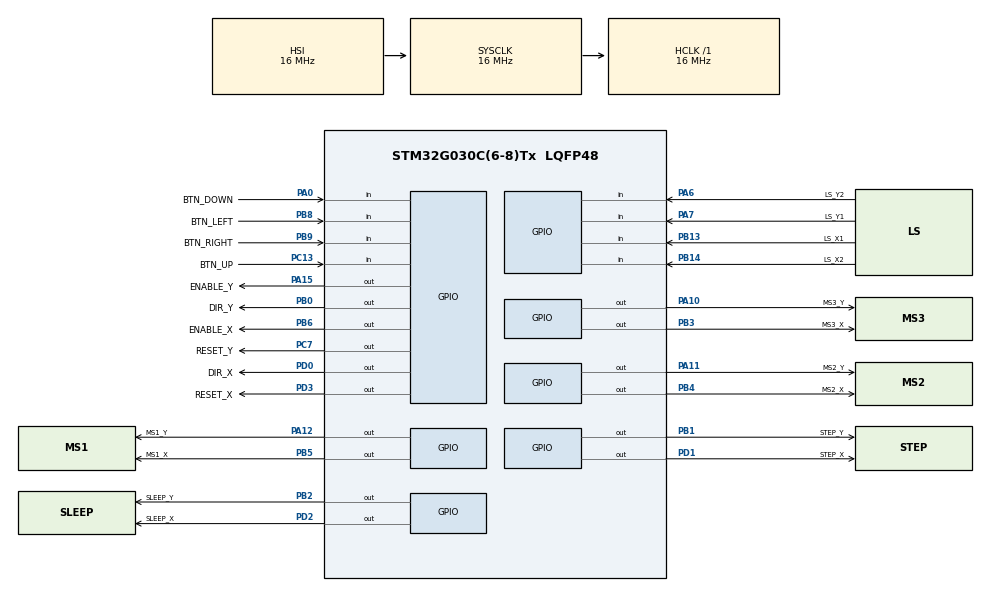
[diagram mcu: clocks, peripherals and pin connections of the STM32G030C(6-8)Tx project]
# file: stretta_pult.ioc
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Mcu.Family=STM32G0
Mcu.Name=STM32G030C(6-8)Tx
Mcu.Package=LQFP48
NVIC.TIM1_BRK_UP_TRG_COM_IRQn=true\:0\:0\:false\:false\:true\:true\:true\:true
NVIC.TIM3_IRQn=true\:0\:0\:false\:false\:true\:true\:true\:true
PA0.GPIO_Label=BTN_DOWN
PA0.Signal=GPIO_Input
PA10.GPIO_Label=MS3_Y
PA10.Signal=GPIO_Output
PA11\ [PA9].GPIO_Label=MS2_Y
PA11\ [PA9].Signal=GPIO_Output
PA12\ [PA10].GPIO_Label=MS1_Y
PA12\ [PA10].Signal=GPIO_Output
PA13.Mode=Serial_Wire
PA13.Signal=SYS_SWDIO
PA14-BOOT0.Mode=Serial_Wire
PA14-BOOT0.Signal=SYS_SWCLK
PA15.GPIO_Label=ENABLE_Y
PA15.PinState=GPIO_PIN_SET
PA15.Signal=GPIO_Output
PA6.GPIO_Label=LS_Y2
PA6.Signal=GPIO_Input
PA7.GPIO_Label=LS_Y1
PA7.Signal=GPIO_Input
PB0.GPIO_Label=DIR_Y
PB0.Signal=GPIO_Output
PB1.GPIO_Label=STEP_Y
PB1.Signal=GPIO_Output
PB13.GPIO_Label=LS_X1
PB13.Signal=GPIO_Input
PB14.GPIO_Label=LS_X2
PB14.Signal=GPIO_Input
PB2.GPIO_Label=SLEEP_Y
PB2.PinState=GPIO_PIN_SET
PB2.Signal=GPIO_Output
PB3.GPIO_Label=MS3_X
PB3.Signal=GPIO_Output
PB4.GPIO_Label=MS2_X
PB4.Signal=GPIO_Output
PB5.GPIO_Label=MS1_X
PB5.Signal=GPIO_Output
PB6.GPIO_Label=ENABLE_X
PB6.PinState=GPIO_PIN_SET
PB6.Signal=GPIO_Output
PB8.GPIO_Label=BTN_LEFT
PB8.Signal=GPIO_Input
PB9.GPIO_Label=BTN_RIGHT
PB9.Signal=GPIO_Input
PC13.GPIO_Label=BTN_UP
PC13.Signal=GPIO_Input
PC7.GPIO_Label=RESET_Y
PC7.PinState=GPIO_PIN_SET
PC7.Signal=GPIO_Output
PD0.GPIO_Label=DIR_X
PD0.Signal=GPIO_Output
PD1.GPIO_Label=STEP_X
PD1.Signal=GPIO_Output
PD2.GPIO_Label=SLEEP_X
PD2.PinState=GPIO_PIN_SET
PD2.Signal=GPIO_Output
PD3.GPIO_Label=RESET_X
PD3.PinState=GPIO_PIN_SET
PD3.Signal=GPIO_Output
ProjectManager.HeapSize=0x200
ProjectManager.StackSize=0x400
ProjectManager.TargetToolchain=STM32CubeIDE
RCC.AHBFreq_Value=16000000
RCC.CortexFreq_Value=16000000
RCC.EXTERNAL_CLOCK_VALUE=12288000
RCC.HCLKFreq_Value=16000000
RCC.HSE_VALUE=8000000
RCC.HSI_VALUE=16000000
RCC.LSE_VALUE=32768
RCC.SYSCLKFreq_VALUE=16000000
RCC.VCOOutputFreq_Value=128000000
TIM1.Period=19999
TIM3.Period=19999
VP_TIM1_VS_ClockSourceINT.Mode=Internal
VP_TIM3_VS_ClockSourceINT.Mode=Internal
board=custom

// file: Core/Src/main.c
/* USER CODE BEGIN Header */
/**
  ******************************************************************************
  * @file           : main.c
  * @brief          : Main program body
  ******************************************************************************
  * @attention
  *
  * Copyright (c) 2023 STMicroelectronics.
  * All rights reserved.
  *
  * This software is licensed under terms that can be found in the LICENSE file
  * in the root directory of this software component.
  * If no LICENSE file comes with this software, it is provided AS-IS.
  *
  ******************************************************************************
  */
/* USER CODE END Header */
#include "main.h"
#include "tim.h"
#include "gpio.h"

/* USER CODE BEGIN Includes */

#include "stepper.h"
#include "controller.h"
/* USER CODE END Includes */

/* USER CODE BEGIN PV */
extern Stepper stepperX;
extern Stepper stepperY;
/* USER CODE END PV */

void SystemClock_Config(void);

/* USER CODE BEGIN 0 */

// прерывание по таймеру для шага двигателя
void HAL_TIM_PeriodElapsedCallback(TIM_HandleTypeDef *htim)
{
        if(htim->Instance == TIM1)
        	stepper_step(&stepperX, htim);

        else if(htim->Instance == TIM3)
        	stepper_step(&stepperY, htim);
}
/* USER CODE END 0 */

int main(void)
{

  /* MCU Configuration--------------------------------------------------------*/

  /* Reset of all peripherals, Initializes the Flash interface and the Systick. */
  HAL_Init();

  /* Configure the system clock */
  SystemClock_Config();

  /* Initialize all configured peripherals */
  MX_GPIO_Init();
  MX_TIM1_Init();
  MX_TIM3_Init();

  /* Infinite loop */
  /* USER CODE BEGIN WHILE */

    __HAL_TIM_CLEAR_FLAG(&htim1, TIM_SR_UIF); // очищаем флаг таймера
       HAL_TIM_Base_Start_IT(&htim1); 			// запускаем таймер

       __HAL_TIM_CLEAR_FLAG(&htim3, TIM_SR_UIF); // очищаем флаг таймера
         HAL_TIM_Base_Start_IT(&htim3);				// запускаем таймер

        steppers_init();		// инициализация шаговиков

     	check_buttons(&stepperX);	// проверка на кнопки и концевики второй оси
     	check_buttons(&stepperY);	// проверка на кнопки и концевики второй оси

	while (1)
    {

		controller();
		//HAL_Delay(10);
    /* USER CODE END WHILE */

    }
}

void SystemClock_Config(void)
{
  RCC_OscInitTypeDef RCC_OscInitStruct = {0};
  RCC_ClkInitTypeDef RCC_ClkInitStruct = {0};

  /** Configure the main internal regulator output voltage
  */
  HAL_PWREx_ControlVoltageScaling(PWR_REGULATOR_VOLTAGE_SCALE1);

  /** Initializes the RCC Oscillators according to the specified parameters
  * in the RCC_OscInitTypeDef structure.
  */
  RCC_OscInitStruct.OscillatorType = RCC_OSCILLATORTYPE_HSI;
  RCC_OscInitStruct.HSIState = RCC_HSI_ON;
  RCC_OscInitStruct.HSIDiv = RCC_HSI_DIV1;
  RCC_OscInitStruct.HSICalibrationValue = RCC_HSICALIBRATION_DEFAULT;
  RCC_OscInitStruct.PLL.PLLState = RCC_PLL_NONE;
  if (HAL_RCC_OscConfig(&RCC_OscInitStruct) != HAL_OK)
  {
    Error_Handler();
  }

  /** Initializes the CPU, AHB and APB buses clocks
  */
  RCC_ClkInitStruct.ClockType = RCC_CLOCKTYPE_HCLK|RCC_CLOCKTYPE_SYSCLK
                              |RCC_CLOCKTYPE_PCLK1;
  RCC_ClkInitStruct.SYSCLKSource = RCC_SYSCLKSOURCE_HSI;
  RCC_ClkInitStruct.AHBCLKDivider = RCC_SYSCLK_DIV1;
  RCC_ClkInitStruct.APB1CLKDivider = RCC_HCLK_DIV1;

  if (HAL_RCC_ClockConfig(&RCC_ClkInitStruct, FLASH_LATENCY_0) != HAL_OK)
  {
    Error_Handler();
  }
}

void Error_Handler(void)
{
  __disable_irq();
  while (1)
  {
  }
}
